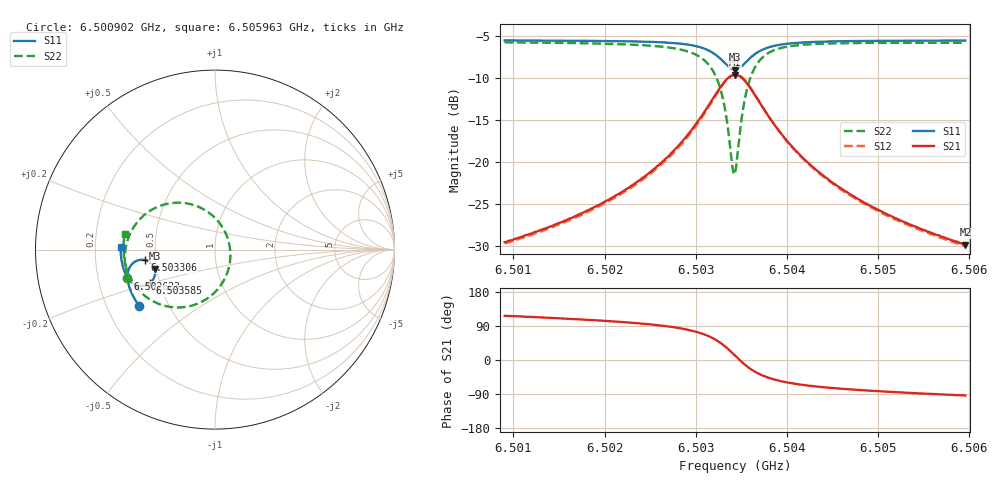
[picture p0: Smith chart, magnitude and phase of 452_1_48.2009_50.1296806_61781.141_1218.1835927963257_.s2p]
#  HZ  S  RI  R  50.00
! Rohde & Schwarz Vector Network Analyzer
! Rohde-Schwarz,ZNB20-2Port,1311601062101988,3.16
! Created: UTC 3/20/2024, 11:56:16 AM
! freq[Hz]  re:S11  im:S11  re:S21  im:S21  re:S12  im:S12  re:S22  im:S22
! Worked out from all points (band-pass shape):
!   401 points, 6.500902 GHz to 6.505963 GHz, reference 50 ohm
!   highest |S21| = -9.65 dB at 6.503433 GHz (marker M1); lowest = -29.9 dB at 6.505963 GHz (marker M2)
!   |S21| within 3 dB of the highest: 6.503181 GHz to 6.503686 GHz (505.7 kHz wide, 0.00778 % of centre)
!   lowest |S11| = -9.0 dB at 6.503433 GHz (marker M3), VSWR 2.09, Z = 24.3 - j5.95 ohm
!   |S11| at or under -10 dB: nowhere
!   |S22| runs from -21.5 to -5.8 dB; largest |S21 - S12| = 0.011
!   S11 on the Smith chart (normalised r, x): 6.500902 GHz: 0.34, -0.29; 6.502623 GHz: 0.33, -0.15; 6.503306 GHz: 0.44, -0.06; 6.503585 GHz: 0.44, -0.20; 6.505963 GHz: 0.31, +0.01
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6.5009024e9  -0.4243 -0.312  -0.015 0.0298  -0.0133 0.0298  -0.488 -0.1593
6.5017501e9  -0.4609 -0.2497  -0.0142 0.0473  -0.0121 0.047  -0.502 -0.0701
6.5022056e9  -0.4773 -0.2097  -0.0117 0.0659  -0.00871 0.065  -0.4997 -0.0063
6.5025979e9  -0.4867 -0.1666  -0.00262 0.096  0.00108 0.0937  -0.4806 0.0709
6.5026232e9  -0.487 -0.1635  -0.00146 0.0987  0.00228 0.0963  -0.478 0.0771
6.5029142e9  -0.4834 -0.1189  0.0256 0.1425  0.0294 0.1381  -0.4218 0.1661
6.503104e9  -0.4622 -0.0809  0.0794 0.1845  0.0819 0.1784  -0.3191 0.2385
6.5032178e9  -0.4299 -0.0601  0.1481 0.2021  0.149 0.1959  -0.1953 0.2614
6.5033064e9  -0.3897 -0.0583  0.2273 0.1863  0.2279 0.1813  -0.0584 0.2218
6.5033444e9  -0.3702 -0.0657  0.264 0.1634  0.2647 0.1589  0.00159 0.175
6.5034076e9  -0.3434 -0.0924  0.3118 0.0997  0.3144 0.0949  0.0741 0.0526
6.5034329e9  -0.3369 -0.107  0.322 0.0677  0.3253 0.0618  0.0852 -0.00743
6.5034582e9  -0.3341 -0.1226  0.3257 0.0338  0.3294 0.027  0.0834 -0.069
6.5035215e9  -0.341 -0.1599  0.3077 -0.0443  0.3101 -0.0542  0.0283 -0.2044
6.5035848e9  -0.3623 -0.186  0.2649 -0.0985  0.264 -0.1098  -0.0682 -0.2877
6.503686e9  -0.4018 -0.2013  0.1903 -0.1348  0.185 -0.1445  -0.2184 -0.3223
6.5038505e9  -0.448 -0.1918  0.1084 -0.1318  0.1016 -0.1369  -0.3658 -0.2757
6.5040276e9  -0.4754 -0.1704  0.0639 -0.1118  0.0578 -0.1141  -0.4379 -0.2112
6.5042807e9  -0.4962 -0.1405  0.034 -0.0875  0.0292 -0.088  -0.4812 -0.139
6.5046602e9  -0.5118 -0.101  0.015 -0.0644  0.0117 -0.064  -0.5037 -0.0641
6.5051284e9  -0.5212 -0.0578  0.005 -0.0477  0.00275 -0.0472  -0.51 0.00151
6.5059634e9  -0.526 0.0128  -0.00199 -0.0321  -0.00342 -0.0314  -0.5022 0.0893
